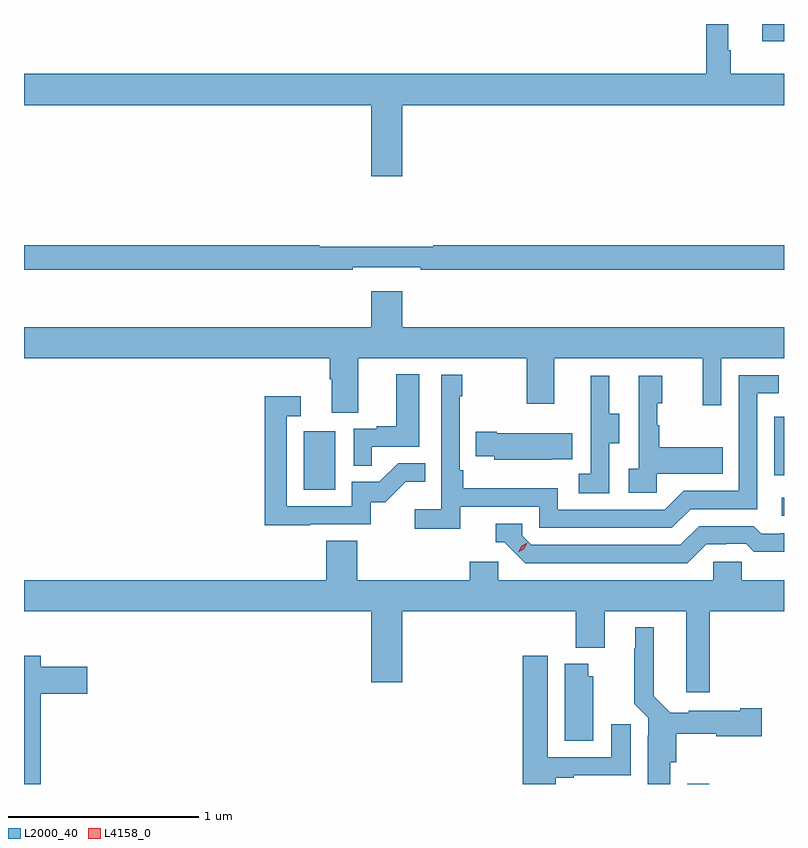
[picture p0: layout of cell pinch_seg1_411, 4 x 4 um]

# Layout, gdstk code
import gdstk
lib = gdstk.Library(unit=1e-6, precision=1e-09)
def R(c, l, rs):  # rectangles x0, y0, x1, y1
    for r in rs: c.add(gdstk.rectangle(r[:2], r[2:], *l))
def P(c, l, *ps):  # polygons
    for p in ps: c.add(gdstk.Polygon(p, *l))
L2000_40 = (2000, 40)
L4158_0 = (4158, 0)

pinch_seg1_411 = lib.new_cell('pinch_seg1_411')
R(pinch_seg1_411, L2000_40, [(921.915,529.511,922.031,529.513), (922.413,530.922,922.425,531.018), (919.898,531.06,920.062,531.367), (922.374,531.135,922.425,531.444), (922.31,533.42,922.425,533.511)])
P(pinch_seg1_411, L2000_40, [(920.416,533.084),(922.425,533.084),(922.425,533.248),(922.144,533.248),(922.144,533.372),(922.132,533.372),(922.132,533.511),(922.015,533.511),(922.015,533.248),(918.425,533.248),(918.425,533.084),(920.252,533.084),(920.252,532.71),(920.416,532.71)],
  [(920.156,532.23),(920.512,532.23),(920.512,532.218),(922.425,532.218),(922.425,532.346),(920.579,532.346),(920.579,532.339),(919.979,532.339),(919.979,532.346),(918.425,532.346),(918.425,532.218),(920.156,532.218)],
  [(920.185,531.752),(921.07,531.752),(921.07,531.513),(921.217,531.513),(921.217,531.752),(921.998,531.752),(921.998,531.504),(922.095,531.504),(922.095,531.752),(922.425,531.752),(922.425,531.916),(920.416,531.916),(920.416,532.105),(920.252,532.105),(920.252,531.916),(918.425,531.916),(918.425,531.752),(920.033,531.752),(920.033,531.64),(920.045,531.64),(920.045,531.466),(920.185,531.466)],
  [(920.255,531.285),(920.506,531.285),(920.506,531.667),(920.384,531.667),(920.384,531.394),(920.281,531.394),(920.281,531.381),(920.16,531.381),(920.16,531.187),(920.255,531.187)],
  [(920.72,530.97),(921.138,530.97),(921.138,530.859),(921.835,530.859),(921.934,530.958),(922.284,530.958),(922.284,531.567),(922.397,531.567),(922.397,531.663),(922.188,531.663),(922.188,531.054),(921.897,531.054),(921.798,530.955),(921.234,530.955),(921.234,531.067),(920.738,531.067),(920.738,531.163),(920.718,531.163),(920.718,531.551),(920.731,531.551),(920.731,531.664),(920.622,531.664),(920.622,530.956),(920.481,530.956),(920.481,530.854),(920.72,530.854)],
  [(921.504,531.304),(921.559,531.304),(921.559,531.459),(921.505,531.459),(921.505,531.661),(921.407,531.661),(921.407,531.447),(921.408,531.447),(921.408,531.143),(921.345,531.143),(921.345,531.04),(921.504,531.04)],
  [(921.756,531.143),(922.103,531.143),(922.103,531.283),(921.769,531.283),(921.769,531.398),(921.759,531.398),(921.759,531.516),(921.784,531.516),(921.784,531.661),(921.66,531.661),(921.66,531.17),(921.609,531.17),(921.609,531.045),(921.756,531.045)],
  [(919.931,530.877),(920.25,530.877),(920.25,530.994),(920.326,530.994),(920.433,531.101),(920.537,531.101),(920.537,531.2),(920.394,531.2),(920.296,531.102),(920.151,531.102),(920.151,530.973),(919.809,530.973),(919.809,531.447),(919.882,531.447),(919.882,531.553),(919.693,531.553),(919.693,530.872),(919.931,530.872)],
  [(921.203,531.221),(921.311,531.221),(921.311,531.358),(920.914,531.358),(920.914,531.366),(920.803,531.366),(920.803,531.236),(920.901,531.236),(920.901,531.218),(921.203,531.218)],
  [(922.015,530.772),(922.122,530.772),(922.122,530.775),(922.225,530.775),(922.267,530.733),(922.425,530.733),(922.425,530.832),(922.405,530.832),(922.405,530.829),(922.306,530.829),(922.267,530.868),(921.978,530.868),(921.879,530.769),(921.096,530.769),(921.048,530.817),(921.048,530.88),(920.909,530.88),(920.909,530.784),(920.952,530.784),(921.063,530.673),(921.916,530.673)],
  [(922.034,530.42),(922.425,530.42),(922.425,530.584),(922.203,530.584),(922.203,530.682),(922.053,530.682),(922.053,530.584),(920.922,530.584),(920.922,530.682),(920.771,530.682),(920.771,530.584),(920.18,530.584),(920.18,530.792),(920.015,530.792),(920.015,530.584),(918.425,530.584),(918.425,530.42),(920.252,530.42),(920.252,530.046),(920.416,530.046),(920.416,530.42),(921.329,530.42),(921.329,530.228),(921.481,530.228),(921.481,530.42),(921.911,530.42),(921.911,529.995),(922.034,529.995)],
  [(921.826,529.626),(921.857,529.626),(921.857,529.775),(922.068,529.775),(922.068,529.763),(922.309,529.763),(922.309,529.91),(922.196,529.91),(922.196,529.897),(921.924,529.897),(921.924,529.885),(921.825,529.885),(921.739,529.972),(921.739,530.335),(921.641,530.335),(921.641,530.225),(921.637,530.225),(921.637,529.934),(921.711,529.86),(921.711,529.766),(921.707,529.766),(921.707,529.511),(921.826,529.511)],
  [(918.514,529.985),(918.757,529.985),(918.757,530.127),(918.514,530.127),(918.514,530.185),(918.425,530.185),(918.425,529.511),(918.514,529.511)],
  [(921.223,529.545),(921.319,529.545),(921.319,529.557),(921.619,529.557),(921.619,529.825),(921.515,529.825),(921.515,529.653),(921.181,529.653),(921.181,530.185),(921.05,530.185),(921.05,529.511),(921.223,529.511)],
  [(921.421,530.079),(921.394,530.079),(921.394,530.143),(921.272,530.143),(921.272,529.738),(921.421,529.738)])
P(pinch_seg1_411, L4158_0, [(921.026,530.73),(921.026,530.73),(921.042,530.762),(921.073,530.782),(921.074,530.782),(921.074,530.782),(921.057,530.749),(921.026,530.73)])

lib.write_gds('pinch_seg1_411.gds')
